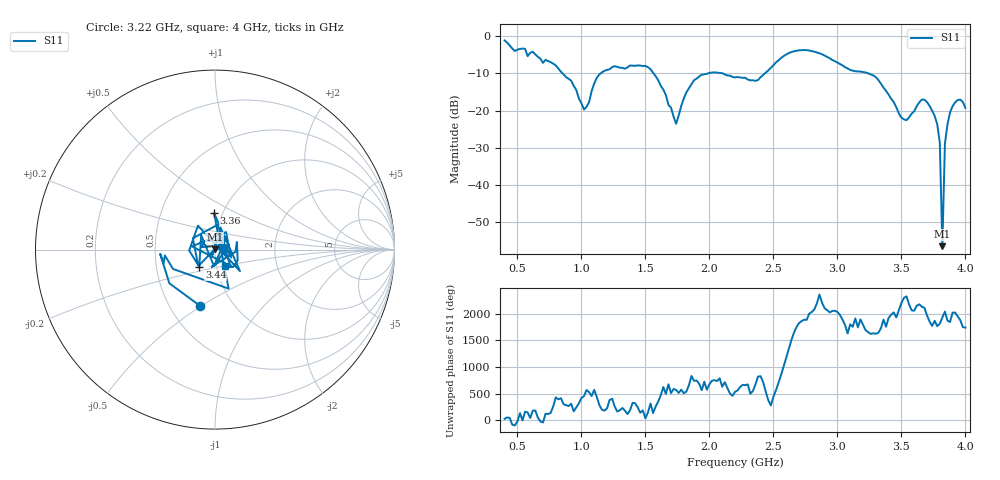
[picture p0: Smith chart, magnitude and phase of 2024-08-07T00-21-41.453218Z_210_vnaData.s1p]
!Created with skrf (http://scikit-rf.org).
# Hz S RI R 50.0
!freq ReS11 ImS11
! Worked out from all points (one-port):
!   181 points, 400 MHz to 4 GHz, reference 50 ohm
!   lowest |S11| = -56.4 dB at 3.82 GHz (marker M1), VSWR 1.00, Z = 49.9 + j0.11 ohm
!   |S11| at or under -10 dB: 1.563 GHz to 1.992 GHz (428.5 MHz wide, 24.1 % of centre); 2.102 GHz to 2.435 GHz (333.4 MHz wide, 14.7 % of centre); 3.24 GHz to end of sweep (the widest 3 of 4)
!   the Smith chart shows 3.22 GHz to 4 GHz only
!   S11 on the Smith chart (normalised r, x): 3.22 GHz: 0.70, -0.50; 3.36 GHz: 0.91, +0.39; 3.44 GHz: 0.82, -0.16; 4 GHz: 1.10, -0.21
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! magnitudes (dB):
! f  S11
! 400 MHz  -1.2
! 860 MHz  -10.3
! 1.02 GHz  -19.7
! 1.14 GHz  -10.3
! 1.3 GHz  -8.5
! 1.54 GHz  -8.9
! 1.64 GHz  -14.4
! 1.74 GHz  -23.6
! 1.76 GHz  -21.3
! 1.82 GHz  -15.1
! 1.92 GHz  -10.8
! 2.2 GHz  -11.1
! 2.38 GHz  -11.8
! 2.66 GHz  -4.1
! 3.1 GHz  -9.1
! 3.22 GHz  -9.8
! 3.36 GHz  -13.8
! 3.44 GHz  -17.7
! 3.5 GHz  -21.9
! 3.56 GHz  -21.8
! 3.68 GHz  -17.1
! 3.78 GHz  -23.7
! 3.8 GHz  -28.6
! 3.82 GHz  -56.4
! 3.84 GHz  -28.9
! 3.86 GHz  -23.7
! 3.94 GHz  -17.2
! 4 GHz  -19.3
